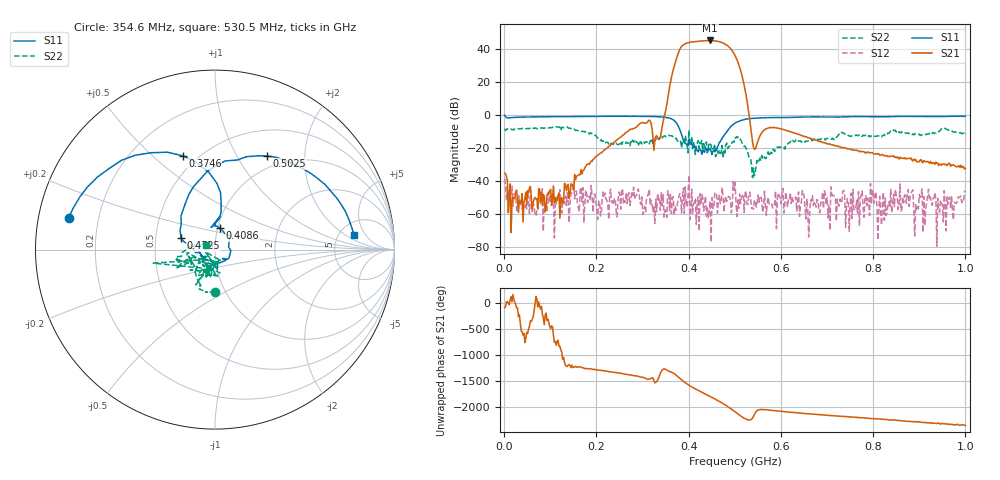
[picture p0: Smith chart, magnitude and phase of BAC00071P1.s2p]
!measured: 2026-10-27T15:28:46
!cal_instance: BBtestOct27
!cal_created: 2026-10-27T14:45
!cal_file: BBtesting.cal
!port1_delay_ps: -58.63
!port2_delay_ps: -59.31
!host: dhcp-10-250-247-203.harvard.edu
! Created with skrf 2.1.0 (http://scikit-rf.org).
# Hz S RI R 50.0
!freq ReS11 ImS11 ReS21 ImS21 ReS12 ImS12 ReS22 ImS22
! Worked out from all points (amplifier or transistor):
!   501 points, 1 MHz to 1 GHz, reference 50 ohm
!   highest |S21| = 45.2 dB at 446.6 MHz (marker M1)
!   |S21| within 3 dB of that: 386.9 MHz to 483.5 MHz (96.58 MHz wide, 22.2 % of centre)
!   unconditionally stable (mu >= 1): start of sweep to 392.5 MHz; 406.8 MHz to 456.5 MHz; 500.6 MHz to end of sweep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
!   at 166.8 MHz: K = 529.72, MAG = -24.9 dB, |S12| = -43.6 dB
!   at 500.5 MHz: K = 0.95, MSG = 38.5 dB, |S12| = -40.8 dB
!   at 1 GHz: K = 564.09, MAG = -23.8 dB, |S12| = -45.8 dB
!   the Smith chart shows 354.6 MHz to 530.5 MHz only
!   S11 on the Smith chart (normalised r, x): 354.6 MHz: 0.09, +0.11; 374.6 MHz: 0.42, +0.63; 408.6 MHz: 1.03, +0.25; 472.5 MHz: 0.68, +0.09; 502.5 MHz: 0.83, +1.34; 530.5 MHz: 6.92, +2.81
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1000000  -0.3665 0.9125  -0.000964 -0.0177  -0.00526 -0.0108  0.3889 -0.0168
1.68832e8  0.4952 -0.7618  -0.0153 -0.00634  -0.00237 -0.000436  -0.0173 -0.3221
3.34666e8  -0.8399 -0.3213  0.1824 -0.0217  -0.00159 -0.0022  0.0375 -0.1843
3.54646e8  -0.8158 0.1775  -2.355 2.111  -0.00439 0.0026  0.00131 -0.2347
3.74626e8  -0.1805 0.5229  43.95 35.89  0.000855 -0.00159  -0.1056 -0.1444
3.84616e8  0.0342 0.258  97.72 -69.75  0.00103 -0.000361  -0.0849 -0.0551
3.92608e8  0.00262 0.1454  -3.888 -144.6  -0.00421 -0.00525  -0.2181 -0.1036
4.006e8  0.0266 0.1836  -116.8 -98.97  0.00623 -0.0138  -0.3445 -0.0754
4.08592e8  0.0277 0.1212  -164.1 6.86  -0.000608 0.000898  -0.0387 -0.0892
4.2058e8  0.0758 0.0137  -87.24 146.8  -0.00333 -0.000277  -0.0551 -0.16
4.28572e8  0.0422 -0.0496  14.51 175.8  -0.00377 -0.00133  -0.0958 -0.1434
4.46554e8  -0.0711 -0.0684  181.8 13.6  0.00242 -0.000495  -0.072 -0.1116
4.6054e8  -0.0826 -0.0169  84.11 -151.8  -0.00215 -0.00339  0.0281 -0.059
4.72528e8  -0.1895 0.0627  -81.24 -133.9  -0.00579 0.00297  -0.0921 -0.0784
4.84516e8  -0.1451 0.3088  -125.2 16.81  0.000106 -0.00311  -0.0409 -0.0877
4.92508e8  0.00408 0.466  -53.45 81.59  -0.000641 0.000901  -0.0634 -0.1179
5.005e8  0.2354 0.5222  20.94 60.67  0.00728 0.00547  -0.2035 -0.0565
5.02498e8  0.2898 0.5216  30.19 47.48  0.00221 0.00176  -0.1876 -0.0691
5.3047e8  0.7758 0.0796  0.0782 -1.163  -0.00172 0.00325  -0.049 0.0239
6.68332e8  0.0635 -0.8787  0.1688 0.079  -0.00348 -0.00104  0.0307 -0.1643
8.34166e8  -0.5903 -0.6709  0.00331 -0.0576  0.00235 -0.00036  -0.1692 -0.2249
1e9  -0.8857 -0.2511  -0.0237 0.00498  -0.00316 -0.00404  -0.2375 -0.1594
